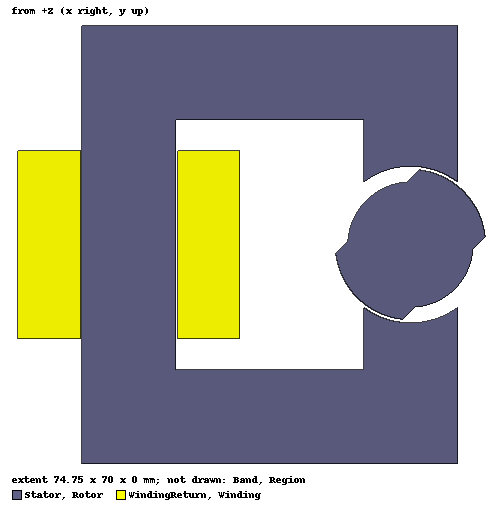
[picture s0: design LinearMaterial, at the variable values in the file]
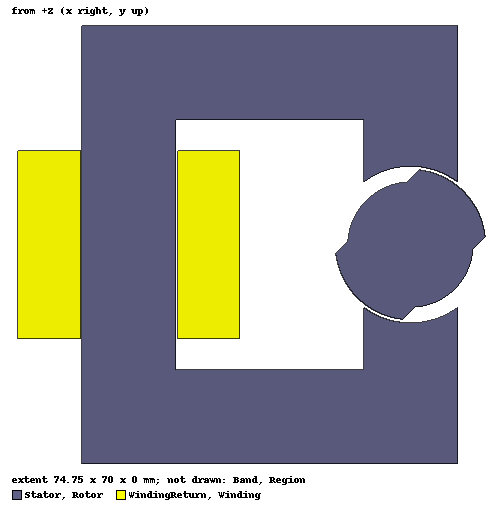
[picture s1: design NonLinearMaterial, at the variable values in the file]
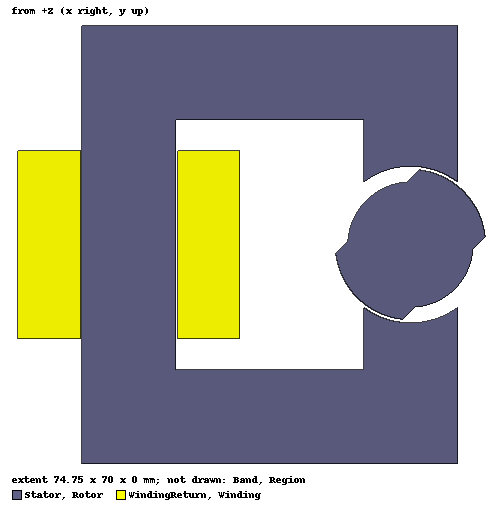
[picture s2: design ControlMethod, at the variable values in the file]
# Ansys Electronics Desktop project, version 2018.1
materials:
  vacuum: permittivity=1
  copper: permeability=0.999991 conductivity=58000000
  Taconic CER-10 (tm): permittivity=10 dielectric_loss_tangent=0.0035
  steel_1010_Linear: permittivity=1 permeability=902.6 conductivity=2000000 lande_g_factor=2
  steel_1010: permittivity=1 permeability{BType=normal HUnit=A_per_meter BUnit=tesla curve (0, 0) (238.7, 0.2003) (318.3, 0.3204) (358.1, 0.40045) (437.7, 0.50055) (477.5, 0.5606) (636.6, 0.7908) (795.8, 0.931) (1114.1, 1.1014) (1273.2, 1.2016) (1591.5, 1.302) (2228.2, 1.4028) (3183.1, 1.524) (4774.6, 1.626) (6366.2, 1.698) (7957.7, 1.73) (15915.5, 1.87) (31831, 1.99) (47746.5, 2.04) (63662, 2.07) (79577.5, 2.095) (159155, 2.2) (318310, 2.4)} conductivity=2000000 lande_g_factor=2

design LinearMaterial (Maxwell 2D, Transient, XY geometry, model units mm)
options: ComputeTransientInductance ModelDepth=20mm Multiplier=1
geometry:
  Circle1 = circle(normal=Z, centre=(0mm, 0mm, 0mm), radius=12mm)
  Rotor [steel_1010_Linear] = circle(normal=Z, centre=(0mm, 0mm, 0mm), radius=10mm)
  Rectangle1 = rectangle(corner=(-7.5mm, -16mm, 0mm), x_size=15mm, y_size=32mm)
  Circle1.intersect(Rectangle1)
  Rotor.unite(Circle1)
  Rotor.rotate(axis=Z, angle=-45deg)
  Stator [steel_1010_Linear] = polyline(z=0mm, xy in mm: (-7.5, -2) (-7.5, -20) (-37.5, -20) (-37.5, 20) (-7.5, 20) (-7.5, 2) (7.5, 2) (7.5, 35) (-52.5, 35) (-52.5, -35) (7.5, -35) (7.5, -2) (-7.5, -2), closed, covered)
  Circle2 = circle(normal=Z, centre=(0mm, 0mm, 0mm), radius=12.5mm)
  Stator.subtract(Circle2)
  WindingReturn [copper] = rectangle(corner=(-37.25mm, -15mm, 0mm), x_size=10mm, y_size=30mm)
  Winding [copper] = rectangle(corner=(-62.75mm, -15mm, 0mm), x_size=10mm, y_size=30mm)
  Band [vacuum] = circle(normal=Z, centre=(0mm, 0mm, 0mm), radius=12.25mm)
  Region [vacuum] = region(percentage_offset: +X=100, -X=100, +Y=100, -Y=100, +Z=0, -Z=0)
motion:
  MotionSetup1: Band Move_Type=Rotate Coordinate_System=Global Axis=Z Is_Positive=true InitPos=0deg Angular_Velocity=0rpm Moment_of_Inertia=1.8672297e-07 Damping=0 Load_Torque=0NewtonMeter Objects=Band
  Moving1: Moving Objects=Rotor
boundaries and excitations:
  ZeroVectorPot: Vector Potential Edges=Region.edge(all 4) Value=0
  Coil: Coil Objects=Winding Conductor_number=250 Winding=Winding PolarityType=Positive
  Coil_Ret: Coil Objects=WindingReturn Conductor_number=250 Winding=Winding PolarityType=Positive
  Winding: Winding Group Type=Current IsSolid=false Current=3A ParallelBranchesNum=1
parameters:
  Torque: Torque Coordinate_System=Global Is_Positive=true Objects=Rotor
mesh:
  Length1: LengthBased RefineInside disabled Objects=[Rotor, Stator, WindingReturn, Winding] MaxLength=2mm
  initial mesh: MeshMethod=AnsoftTAU
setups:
  Setup1: Transient NonlinearSolverResidual=0.0001 SmoothBHCurve StopTime=9.3ms TimeStep=0.05ms SweepSetupType=LinearStep StartValue=0ns StopValue=9.3ms StepSize=0.05ms ExpressionCache{CacheItem{Title=Moving1_Torque1 Expression=Moving1.Torque TraceID=1205 ReportType=3}} UsingNumSolveSteps=1 ConstantDelta=0.002s NumberSolveSteps=1 InitialTimeStep=0.002s MinTimeStep=0.001s MaxTimeStep=0.003s TimeStepErrTolerance=0.0001
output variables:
  Position = Moving1.Position
  StoredEnergy_05LI2 = 0.5*L(Winding,Winding)*InputCurrent(Winding)*InputCurrent(Winding)*1000
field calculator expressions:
  TotalEnergy = Fundamental_Quantity(25) | EnterVolume(AllObjects) | VolumeValue | Integrate
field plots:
  B_Vector1: B over Rotor, Stator, WindingReturn, Winding, Band on Setup1 : Transient at Time=0s
  Mag_B1: B over Stator, Rotor on Setup1 : Transient at Time=0s
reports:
  Inductance vs Position: L(Winding,Winding) vs Moving1.Position-45deg on Setup1 : Transient
  Stored Energy vs Position by Energy Calculation: TotalEnergy/50*1e3, StoredEnergy_05LI2 vs Position-45deg on Setup1 : Transient [Time=all]
  Torque vs Position: Moving1.Torque vs Moving1.Position-45deg on Setup1 : Transient

design NonLinearMaterial (Maxwell 2D, Transient, XY geometry, model units mm)
options: ComputeTransientInductance ModelDepth=20mm Multiplier=1
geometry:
  Circle1 = circle(normal=Z, centre=(0mm, 0mm, 0mm), radius=12mm)
  Rotor [steel_1010] = circle(normal=Z, centre=(0mm, 0mm, 0mm), radius=10mm)
  Rectangle1 = rectangle(corner=(-7.5mm, -16mm, 0mm), x_size=15mm, y_size=32mm)
  Circle1.intersect(Rectangle1)
  Rotor.unite(Circle1)
  Rotor.rotate(axis=Z, angle=-45deg)
  Stator [steel_1010] = polyline(z=0mm, xy in mm: (-7.5, -2) (-7.5, -20) (-37.5, -20) (-37.5, 20) (-7.5, 20) (-7.5, 2) (7.5, 2) (7.5, 35) (-52.5, 35) (-52.5, -35) (7.5, -35) (7.5, -2) (-7.5, -2), closed, covered)
  Circle2 = circle(normal=Z, centre=(0mm, 0mm, 0mm), radius=12.5mm)
  Stator.subtract(Circle2)
  WindingReturn [copper] = rectangle(corner=(-37.25mm, -15mm, 0mm), x_size=10mm, y_size=30mm)
  Winding [copper] = rectangle(corner=(-62.75mm, -15mm, 0mm), x_size=10mm, y_size=30mm)
  Band [vacuum] = circle(normal=Z, centre=(0mm, 0mm, 0mm), radius=12.25mm)
  Region [vacuum] = region(percentage_offset: +X=100, -X=100, +Y=100, -Y=100, +Z=0, -Z=0)
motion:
  MotionSetup1: Band Move_Type=Rotate Coordinate_System=Global Axis=Z Is_Positive=true InitPos=0deg Angular_Velocity=0rpm Moment_of_Inertia=1.8672297e-07 Damping=0 Load_Torque=0NewtonMeter Objects=Band
  Moving1: Moving Objects=Rotor
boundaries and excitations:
  ZeroVectorPot: Vector Potential Edges=Region.edge(all 4) Value=0
  Coil: Coil Objects=Winding Conductor_number=250 Winding=Winding PolarityType=Positive
  Coil_Ret: Coil Objects=WindingReturn Conductor_number=250 Winding=Winding PolarityType=Positive
  Winding: Winding Group Type=Current IsSolid=false Current=30A ParallelBranchesNum=1
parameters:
  Torque: Torque Coordinate_System=Global Is_Positive=true Objects=Rotor
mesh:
  Length1: LengthBased RefineInside Objects=[Rotor, Stator, WindingReturn, Winding] MaxLength=2mm
  initial mesh: MeshMethod=AnsoftTAU
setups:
  Setup1: Transient NonlinearSolverResidual=0.0001 SmoothBHCurve StopTime=9.25ms TimeStep=0.05ms SweepSetupType=LinearStep StartValue=0ns StopValue=9.25ms StepSize=0.05ms ExpressionCache{CacheItem{Title=Moving1_Torque1 Expression=Moving1.Torque TraceID=1205 ReportType=3}} UsingNumSolveSteps=1 ConstantDelta=0.002s NumberSolveSteps=1 InitialTimeStep=0.002s MinTimeStep=0.001s MaxTimeStep=0.003s TimeStepErrTolerance=0.0001
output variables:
  Position = Moving1.Position
  StoredEnergy_05LI2 = 0.5*L(Winding,Winding)*InputCurrent(Winding)*InputCurrent(Winding)*1000
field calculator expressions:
  TotalEnergy = Fundamental_Quantity(25) | EnterVolume(AllObjects) | VolumeValue | Integrate
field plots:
  B_Vector1: B over Rotor, Stator, WindingReturn, Winding, Band on Setup1 : Transient at Time=-1
  Mag_B1: B over Stator, Rotor on Setup1 : Transient at Time=-1
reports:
  Inductance vs Position: L(Winding,Winding) vs Moving1.Position-45deg on Setup1 : Transient
  Stored Energy vs Position by Energy Calculation: TotalEnergy/50*1e3, StoredEnergy_05LI2 vs Position-45deg on Setup1 : Transient [Time=all]
  Torque vs Position: Moving1.Torque vs Moving1.Position-45deg on Setup1 : Transient

design ControlMethod (Maxwell 2D, Transient, XY geometry, model units mm)
options: ComputeTransientInductance ModelDepth=20mm Multiplier=1
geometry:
  Circle1 = circle(normal=Z, centre=(0mm, 0mm, 0mm), radius=12mm)
  Rotor [steel_1010] = circle(normal=Z, centre=(0mm, 0mm, 0mm), radius=10mm)
  Rectangle1 = rectangle(corner=(-7.5mm, -16mm, 0mm), x_size=15mm, y_size=32mm)
  Circle1.intersect(Rectangle1)
  Rotor.unite(Circle1)
  Rotor.rotate(axis=Z, angle=-45deg)
  Stator [steel_1010] = polyline(z=0mm, xy in mm: (-7.5, -2) (-7.5, -20) (-37.5, -20) (-37.5, 20) (-7.5, 20) (-7.5, 2) (7.5, 2) (7.5, 35) (-52.5, 35) (-52.5, -35) (7.5, -35) (7.5, -2) (-7.5, -2), closed, covered)
  Circle2 = circle(normal=Z, centre=(0mm, 0mm, 0mm), radius=12.5mm)
  Stator.subtract(Circle2)
  WindingReturn [copper] = rectangle(corner=(-37.25mm, -15mm, 0mm), x_size=10mm, y_size=30mm)
  Winding [copper] = rectangle(corner=(-62.75mm, -15mm, 0mm), x_size=10mm, y_size=30mm)
  Band [vacuum] = circle(normal=Z, centre=(0mm, 0mm, 0mm), radius=12.25mm)
  Region [vacuum] = region(percentage_offset: +X=100, -X=100, +Y=100, -Y=100, +Z=0, -Z=0)
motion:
  MotionSetup1: Band Move_Type=Rotate Coordinate_System=Global Axis=Z Is_Positive=true InitPos=0deg Angular_Velocity=0rpm Moment_of_Inertia=1.8672297e-07 Damping=0 Load_Torque=0NewtonMeter Objects=Band
  Moving1: Moving Objects=Rotor
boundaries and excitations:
  ZeroVectorPot: Vector Potential Edges=Region.edge(all 4) Value=0
  Coil: Coil Objects=Winding Conductor_number=250 Winding=Winding PolarityType=Positive
  Coil_Ret: Coil Objects=WindingReturn Conductor_number=250 Winding=Winding PolarityType=Positive
  Winding: Winding Group Type=Current IsSolid=false Current=30A ParallelBranchesNum=1
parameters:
  Torque: Torque Coordinate_System=Global Is_Positive=true Objects=Rotor
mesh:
  Length1: LengthBased RefineInside Objects=[Rotor, Stator, WindingReturn, Winding] MaxLength=2mm
  initial mesh: MeshMethod=AnsoftTAU
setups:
  Setup1: Transient NonlinearSolverResidual=0.0001 SmoothBHCurve StopTime=9.25ms TimeStep=0.05ms SweepSetupType=LinearStep StartValue=0ns StopValue=9.3ms StepSize=0.05ms ExpressionCache{CacheItem{Title=Moving1_Torque1 Expression=Moving1.Torque TraceID=1205 ReportType=3}} UsingNumSolveSteps=1 ConstantDelta=0.002s NumberSolveSteps=1 InitialTimeStep=0.002s MinTimeStep=0.001s MaxTimeStep=0.003s TimeStepErrTolerance=0.0001
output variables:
  Position = Moving1.Position
  StoredEnergy_05LI2 = 0.5*L(Winding,Winding)*InputCurrent(Winding)*InputCurrent(Winding)*1000
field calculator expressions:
  TotalEnergy = Fundamental_Quantity(25) | EnterVolume(AllObjects) | VolumeValue | Integrate
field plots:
  B_Vector1: B over Rotor, Stator, WindingReturn, Winding, Band on Setup1 : Transient at Time=-1
  Mag_B1: B over Stator, Rotor on Setup1 : Transient at Time=-1
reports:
  Inductance vs Position: L(Winding,Winding) vs Moving1.Position-45deg on Setup1 : Transient
  Stored Energy vs Position by Energy Calculation: TotalEnergy/50*1e3, StoredEnergy_05LI2 vs Position-45deg on Setup1 : Transient [Time=all]
  Torque vs Position: Moving1.Torque vs Moving1.Position-45deg on Setup1 : Transient
